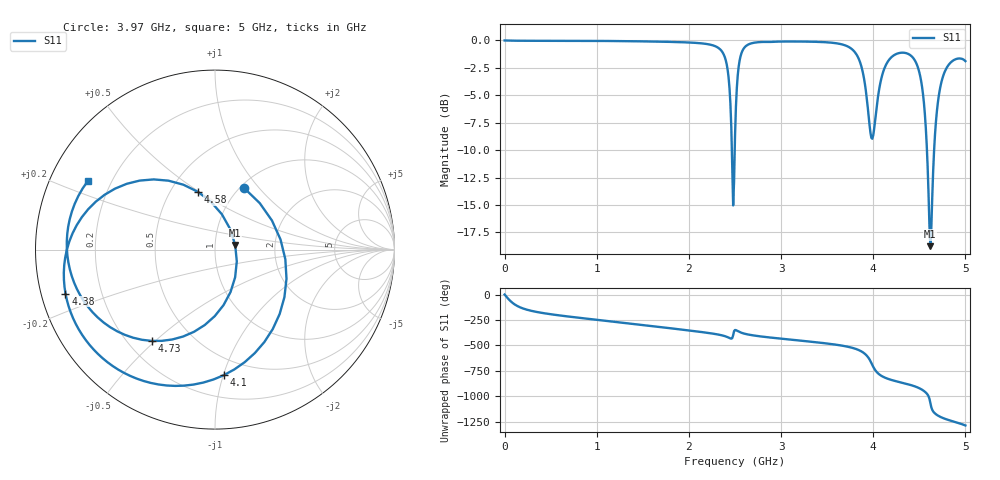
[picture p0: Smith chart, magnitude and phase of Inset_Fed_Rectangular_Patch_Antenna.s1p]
! Touchstone file exported from HFSS 2024.2.0
!  File:  C:/00_Asenjo/00_Project/Ketupa/simulation/Ansys_HFSS/HFSS_Projects/Inset_Fed_Rectangular_Patch_Antenna.aedt
!  Generated:  04:22:03 PM Jun 27, 2025
!  Design:  Rectangular_Patch_Antenna
!  Project:  Inset_Fed_Rectangular_Patch_Antenna
!  Setup:  Setup1
!  Solution:  Sweep
! Variables:
!  Airbox_dist = 9.9931mm
!  FeedLength = 17.5mm
!  FeedWidth = 3.2mm
!  InsetDistance = 9.5mm
!  InsetGap = 4mm
!  VirtualObject_dist = 2.9979mm
!  patchX = 41mm
!  patchY = 32.5mm
!  subH = 1.5mm
!  subX = 70mm
!  subY = 70mm
# GHz S MA R 50.000000
! Terminal data exported
! Port[1] = patch_T1
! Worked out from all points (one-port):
!   651 points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, 1 Hz to 5 GHz, reference 50 ohm
!   lowest |S11| = -18.8 dB at 4.62 GHz (marker M1), VSWR 1.26, Z = 62.6 + j3.26 ohm
!   |S11| at or under -10 dB: 2.466 GHz to 2.497 GHz (30.97 MHz wide, 1.25 % of centre); 4.583 GHz to 4.661 GHz (77.88 MHz wide, 1.69 % of centre)
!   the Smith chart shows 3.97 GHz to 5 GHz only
!   S11 on the Smith chart (normalised r, x): 3.97 GHz: 1.05, +0.84; 4.1 GHz: 0.36, -1.00; 4.38 GHz: 0.07, -0.14; 4.58 GHz: 0.68, +0.49; 4.73 GHz: 0.30, -0.49; 5 GHz: 0.11, +0.25
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1e-09  1 -0.0
! Gamma 50 0
! Port Impedance 50 0
0.03981072  0.9991 -42.3
0.07943282  0.9979 -77.0
0.22  0.9965 -143.1
0.63  0.9963 150.6
1.26  0.9933 84.9
1.88  0.9829 19.6
2.2  0.9625 -16.6
2.39  0.8377 -49.4
2.46  0.4003 -73.9
2.51  0.4972 9.7
2.61  0.9358 -27.0
2.81  0.9847 -55.7
3.13  0.9891 -86.3
3.51  0.9798 -123.1
3.76  0.919 -161.4
3.87  0.7644 161.3
3.97  0.3787 64.4
4.03  0.4687 -34.4
4.1  0.7013 -86.0
4.21  0.8476 -123.9
4.38  0.8681 -163.6
4.48  0.7635 166.3
4.58  0.3363 106.6
4.62  0.1154 12.9
4.73  0.6192 -124.8
4.86  0.8064 -166.9
5  0.805 151.6
